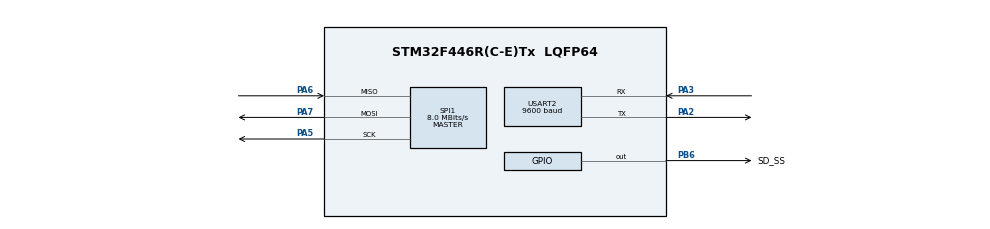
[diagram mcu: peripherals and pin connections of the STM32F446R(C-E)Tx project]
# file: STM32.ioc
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FATFS._MAX_SS=4096
FATFS._USE_LFN=1
Mcu.Family=STM32F4
Mcu.Name=STM32F446R(C-E)Tx
Mcu.Package=LQFP64
NVIC.PriorityGroup=NVIC_PRIORITYGROUP_4
NVIC.USART2_IRQn=true\:0\:0\:false\:false\:true\:true\:true\:true
PA13.Mode=Serial_Wire
PA13.Signal=SYS_JTMS-SWDIO
PA14.Mode=Serial_Wire
PA14.Signal=SYS_JTCK-SWCLK
PA2.Mode=Asynchronous
PA2.Signal=USART2_TX
PA3.Mode=Asynchronous
PA3.Signal=USART2_RX
PA5.Mode=Full_Duplex_Master
PA5.Signal=SPI1_SCK
PA6.Mode=Full_Duplex_Master
PA6.Signal=SPI1_MISO
PA7.Mode=Full_Duplex_Master
PA7.Signal=SPI1_MOSI
PB6.GPIO_Label=SD_SS
PB6.GPIO_ModeDefaultOutputPP=GPIO_MODE_OUTPUT_PP
PB6.GPIO_Speed=GPIO_SPEED_FREQ_MEDIUM
PB6.PinState=GPIO_PIN_SET
PB6.Signal=GPIO_Output
PH0-OSC_IN.Mode=HSE-External-Oscillator
PH0-OSC_IN.Signal=RCC_OSC_IN
PH1-OSC_OUT.Mode=HSE-External-Oscillator
PH1-OSC_OUT.Signal=RCC_OSC_OUT
ProjectManager.HeapSize=0x200
ProjectManager.StackSize=0x400
ProjectManager.TargetToolchain=STM32CubeIDE
RCC.CortexFreq_Value=16000000
RCC.USBFreq_Value=96000000
RCC.VCOOutputFreq_Value=192000000
SPI1.BaudRatePrescaler=SPI_BAUDRATEPRESCALER_2
SPI1.CalculateBaudRate=8.0 MBits/s
SPI1.Direction=SPI_DIRECTION_2LINES
SPI1.Mode=SPI_MODE_MASTER
SPI1.VirtualType=VM_MASTER
USART2.BaudRate=9600
USART2.VirtualMode=VM_ASYNC
VP_FATFS_VS_Generic.Mode=User_defined
board=custom

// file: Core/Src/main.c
/* USER CODE BEGIN Header */
/**
   ******************************************************************************
 Universidad Del Valle De Guatemala
 IE2023: Electrónica digital 2
 Autor: Samuel Tortola - 22094
 Proyecto: Laboratorio 7
 Hardware: STM32
 Creado: 25/09/2024
Última modificación: 27/09/2024
******************************************************************************
  */
/* USER CODE END Header */
#include "main.h"
#include "fatfs.h"

/* USER CODE BEGIN Includes */
#include "fatfs_sd.h"
#include "string.h"
#include "stdio.h"
#include <stdlib.h>

/* USER CODE END Includes */

/* USER CODE BEGIN PD */

SPI_HandleTypeDef hspi1;
FATFS fs;
FATFS *pfs;
FIL fil;
FRESULT fres;
DWORD fre_clust;
uint32_t totalSpace,freeSpace;
char buffer[100];

/* USER CODE END PD */

SPI_HandleTypeDef hspi1;

UART_HandleTypeDef huart2;

/* USER CODE BEGIN PV */

uint8_t rx_data[1]; // Solo para recibir byte por byte
char rx_buffer[500];  // Buffer de recepción
uint8_t activa = 0, activa1 = 0;

#define MAX_FILES 70    //Cantidad máxima de archivos permitidos
#define FILENAME_MAX_LEN 50    //Cantidad máxima de carcateres permitidos por nombre

char file_list[MAX_FILES][FILENAME_MAX_LEN];  // Lista de archivos
int file_count = 0;  // Número de archivos

FIL fil;  // Archivo
char file_name[50];  // Nombre del archivo
int receiving_file = 0;  // Flag para indicar si estamos recibiendo un archivo
FRESULT fres;

/* USER CODE END PV */

void SystemClock_Config(void);
void write_to_sd(char *data);
void transmit_uart(char *string);
void read_file_by_index(int index);
static void MX_GPIO_Init(void);
static void MX_SPI1_Init(void);
static void MX_USART2_UART_Init(void);
/* USER CODE BEGIN PFP */
void transmit_uart(char *string);

/* USER CODE END PFP */

int main(void)
{

  /* MCU Configuration--------------------------------------------------------*/

  /* Reset of all peripherals, Initializes the Flash interface and the Systick. */
  HAL_Init();

  /* Configure the system clock */
  SystemClock_Config();

  /* Initialize all configured peripherals */
  MX_GPIO_Init();
  MX_SPI1_Init();
  MX_USART2_UART_Init();
  MX_FATFS_Init();

  /* USER CODE BEGIN 2 */

  HAL_UART_Receive_IT(&huart2,rx_data, 1);  // Empezar la recepción por UART1 en modo interrupción
  HAL_Delay(500);

  // Montar SD
  fres = f_mount(&fs,"/" , 0);
  if(fres == FR_OK){
      transmit_uart("Micro SD is mounted successfully\n\n\n\n");
  } else {
      transmit_uart("Micro SD is mounted bad\n\n\n\n");
  }

  transmit_uart("******************Bienvenido/a*************************\n\n");
  transmit_uart("Coloque A para leer la lista de archivos, B para desmostar unidad, D para montar unidad\n");
  transmit_uart("Coloque C y el identificador del archivo para leer\n\n");

/*
  // Abrir archivo
  fres = f_open(&fil, "Prueba.txt", FA_CREATE_ALWAYS | FA_WRITE | FA_READ);
  if(fres == FR_OK){
      transmit_uart("File opened for reading and writing\n");
  } else {
      transmit_uart("File was not opened\n");
  }

  // Escribir en archivo
  for(uint8_t i = 0; i < 1; i++){
      if (f_puts("Hola Mundo\n", &fil) < 0) {
          transmit_uart("Error writing to file\n");
      } else {
          transmit_uart("Successfully wrote to file\n");
      }
  }

  // Cerrar archivo
  fres = f_close(&fil);
  if(fres == FR_OK){
      transmit_uart("File was closed\n");
  } else {
      transmit_uart("File was not closed\n");
  }
    */

  /* USER CODE END 2 */

  /* Infinite loop */
  while (1)
  {

    /* USER CODE BEGIN 3 */

	  if(activa == 1){      //Si se desea leer la lista de archivos que tiene el archivo

		  DIR dir;
		     FILINFO fno;
		     file_count = 0;  // Reiniciar el contador de archivos

		     FRESULT fres = f_opendir(&dir, "/");
		     if (fres == FR_OK) {
		         while (f_readdir(&dir, &fno) == FR_OK && fno.fname[0] && file_count < MAX_FILES) {
		             // Almacenar el nombre del archivo en la lista
		             strcpy(file_list[file_count], fno.fname);
		             file_count++;
		         }
		         f_closedir(&dir);
		     }

		     // Enviar la lista de archivos por UART a Python
		     for (int i = 0; i < file_count; i++) {
		         transmit_uart(file_list[i]);
		         transmit_uart("\n");
		     }

			 HAL_Delay(500);
			 activa = 0;
	  }

	  if(activa == 2){         //Si se desea desmontar el archivo
		  // Desmontar SD
				  f_mount(NULL, "", 0);
				  if(fres == FR_OK){
					  transmit_uart("Micro SD was unmounted\n");
				  } else {
					  transmit_uart("Micro SD was not unmounted\n");
				  }

				 HAL_Delay(500);
				 activa = 0;
	  }

	   if(activa == 3 && activa1 != 0){         //Si se desea abrir un archivo

		   read_file_by_index(activa1);  // Leer el archivo correspondiente

/*
		  char buffer[1000];
		  fres = f_open(&fil, "Prueba.txt", FA_READ);
		  if (fres == FR_OK) {
		      while (f_gets(buffer, sizeof(buffer), &fil)) {
		          transmit_uart(buffer);
		      }
		      f_close(&fil);
		  } else {
		      transmit_uart("Error opening file\n");
		  }*/

		  HAL_Delay(500);
		  activa = 0;
		  activa1 = 0;

	  }

	   if(activa == 4){      //Si se desea montar la SD
		   // Montar SD
		     fres = f_mount(&fs,"/" , 0);
		     if(fres == FR_OK){
		         transmit_uart("Micro SD is mounted successfully\n\n\n\n");
		     } else {
		         transmit_uart("Micro SD is mounted bad\n\n\n\n");
		     }
		     activa = 0;
		    activa1 = 0;

	   }

	   if(activa == 5){   //Si se desea escribir un nuevo archivo en la SD
		   receiving_file = 1;
		   HAL_UART_Transmit(&huart2, (uint8_t*)"Ready to receive file\n", 22, HAL_MAX_DELAY);
	   }

  }
  /* USER CODE END 3 */
}

void SystemClock_Config(void)
{
  RCC_OscInitTypeDef RCC_OscInitStruct = {0};
  RCC_ClkInitTypeDef RCC_ClkInitStruct = {0};

  /** Configure the main internal regulator output voltage
  */
  __HAL_RCC_PWR_CLK_ENABLE();
  __HAL_PWR_VOLTAGESCALING_CONFIG(PWR_REGULATOR_VOLTAGE_SCALE3);

  /** Initializes the RCC Oscillators according to the specified parameters
  * in the RCC_OscInitTypeDef structure.
  */
  RCC_OscInitStruct.OscillatorType = RCC_OSCILLATORTYPE_HSI;
  RCC_OscInitStruct.HSIState = RCC_HSI_ON;
  RCC_OscInitStruct.HSICalibrationValue = RCC_HSICALIBRATION_DEFAULT;
  RCC_OscInitStruct.PLL.PLLState = RCC_PLL_NONE;
  if (HAL_RCC_OscConfig(&RCC_OscInitStruct) != HAL_OK)
  {
    Error_Handler();
  }

  /** Initializes the CPU, AHB and APB buses clocks
  */
  RCC_ClkInitStruct.ClockType = RCC_CLOCKTYPE_HCLK|RCC_CLOCKTYPE_SYSCLK
                              |RCC_CLOCKTYPE_PCLK1|RCC_CLOCKTYPE_PCLK2;
  RCC_ClkInitStruct.SYSCLKSource = RCC_SYSCLKSOURCE_HSI;
  RCC_ClkInitStruct.AHBCLKDivider = RCC_SYSCLK_DIV1;
  RCC_ClkInitStruct.APB1CLKDivider = RCC_HCLK_DIV1;
  RCC_ClkInitStruct.APB2CLKDivider = RCC_HCLK_DIV1;

  if (HAL_RCC_ClockConfig(&RCC_ClkInitStruct, FLASH_LATENCY_0) != HAL_OK)
  {
    Error_Handler();
  }
}

static void MX_SPI1_Init(void)
{

  /* SPI1 parameter configuration*/
  hspi1.Instance = SPI1;
  hspi1.Init.Mode = SPI_MODE_MASTER;
  hspi1.Init.Direction = SPI_DIRECTION_2LINES;
  hspi1.Init.DataSize = SPI_DATASIZE_8BIT;
  hspi1.Init.CLKPolarity = SPI_POLARITY_LOW;
  hspi1.Init.CLKPhase = SPI_PHASE_1EDGE;
  hspi1.Init.NSS = SPI_NSS_SOFT;
  hspi1.Init.BaudRatePrescaler = SPI_BAUDRATEPRESCALER_2;
  hspi1.Init.FirstBit = SPI_FIRSTBIT_MSB;
  hspi1.Init.TIMode = SPI_TIMODE_DISABLE;
  hspi1.Init.CRCCalculation = SPI_CRCCALCULATION_DISABLE;
  hspi1.Init.CRCPolynomial = 10;
  if (HAL_SPI_Init(&hspi1) != HAL_OK)
  {
    Error_Handler();
  }

}

static void MX_USART2_UART_Init(void)
{

  huart2.Instance = USART2;
  huart2.Init.BaudRate = 9600;
  huart2.Init.WordLength = UART_WORDLENGTH_8B;
  huart2.Init.StopBits = UART_STOPBITS_1;
  huart2.Init.Parity = UART_PARITY_NONE;
  huart2.Init.Mode = UART_MODE_TX_RX;
  huart2.Init.HwFlowCtl = UART_HWCONTROL_NONE;
  huart2.Init.OverSampling = UART_OVERSAMPLING_16;
  if (HAL_UART_Init(&huart2) != HAL_OK)
  {
    Error_Handler();
  }

}

static void MX_GPIO_Init(void)
{
  GPIO_InitTypeDef GPIO_InitStruct = {0};

  /* GPIO Ports Clock Enable */
  __HAL_RCC_GPIOH_CLK_ENABLE();
  __HAL_RCC_GPIOA_CLK_ENABLE();
  __HAL_RCC_GPIOB_CLK_ENABLE();

  /*Configure GPIO pin Output Level */
  HAL_GPIO_WritePin(SD_SS_GPIO_Port, SD_SS_Pin, GPIO_PIN_SET);

  /*Configure GPIO pin : SD_SS_Pin */
  GPIO_InitStruct.Pin = SD_SS_Pin;
  GPIO_InitStruct.Mode = GPIO_MODE_OUTPUT_PP;
  GPIO_InitStruct.Pull = GPIO_NOPULL;
  GPIO_InitStruct.Speed = GPIO_SPEED_FREQ_MEDIUM;
  HAL_GPIO_Init(SD_SS_GPIO_Port, &GPIO_InitStruct);

}

/* USER CODE BEGIN 4 */
void transmit_uart(char *data) {
    HAL_UART_Transmit(&huart2, (uint8_t *)data, strlen(data), HAL_MAX_DELAY);
}

void HAL_UART_RxCpltCallback(UART_HandleTypeDef *huart)
{

	 if (huart->Instance == USART2) // Verificar si la interrupción es de UART2
	  {

		 if(activa != 5){         //Activar o desactivar funcionamiento normal

			 if (rx_data[0] == 'A'){
				 activa = 1;
			 }

			 else if (rx_data[0] == 'B'){
				 activa = 2;

			 }

			 else if (rx_data[0] == 'C'){
				 activa = 3;

					}

			 else if (rx_data[0] == 'D'){
					activa = 4;

				}

			 else if (rx_data[0] == 'E'){
					activa = 5;

			 }

			 else {
				 activa1 = atoi((char*)rx_data);  // Usa un cast a char*

			 }
		 }

		 else  if(activa == 5){

			 // Recibir el nombre del archivo
			  if (receiving_file == 1) {
				 strcpy(file_name, rx_data);  // Guardar el nombre del archivo
				 fres = f_open(&fil, file_name, FA_CREATE_ALWAYS | FA_WRITE);
				 if (fres == FR_OK) {
					 HAL_UART_Transmit(&huart2, (uint8_t*)"File opened\n", 12, HAL_MAX_DELAY);
					 receiving_file = 2;  // Cambiar el estado para empezar a recibir contenido
				 } else {
					 HAL_UART_Transmit(&huart2, (uint8_t*)"Error opening file\n", 20, HAL_MAX_DELAY);
				 }
			 }
			 // Recibir y escribir contenido en la SD
			 else if (receiving_file == 2) {
				 if (strcmp(rx_data, "EOF") == 0) {
					 // Final de archivo
					 f_close(&fil);
					 HAL_UART_Transmit(&huart2, (uint8_t*)"File saved and closed\n", 23, HAL_MAX_DELAY);
					 receiving_file = 0;  // Terminar recepción de archivo
				 } else {
					 // Escribir en el archivo
					 write_to_sd(rx_data);
				 }
				 activa = 0;
			 }

		 }

	  }

	 // Volver a habilitar la recepción por UART2
	    HAL_UART_Receive_IT(&huart2, rx_data, 1);

}

// Función para leer el archivo basado en el índice
void read_file_by_index(int index) {
    if (index < file_count && index >= 0) {
        FIL fil;
        FRESULT fres = f_open(&fil, file_list[index], FA_READ);
        if (fres == FR_OK) {
            char line[100];
            while (f_gets(line, sizeof(line), &fil)) {
                transmit_uart(line);
            }
            f_close(&fil);
        } else {
            transmit_uart("Error opening file\n");
        }
    } else {
        transmit_uart("Invalid file index\n");
    }

}

// Función para escribir el archivo en la SD
void write_to_sd(char *data) {
    fres = f_puts(data, &fil);
    if (fres < 0) {
        // Error escribiendo en la SD
        HAL_UART_Transmit(&huart2, (uint8_t*)"Error writing to file\n", 22, HAL_MAX_DELAY);
    }
}

/* USER CODE END 4 */

void Error_Handler(void)
{
  __disable_irq();
  while (1)
  {
  }
}
